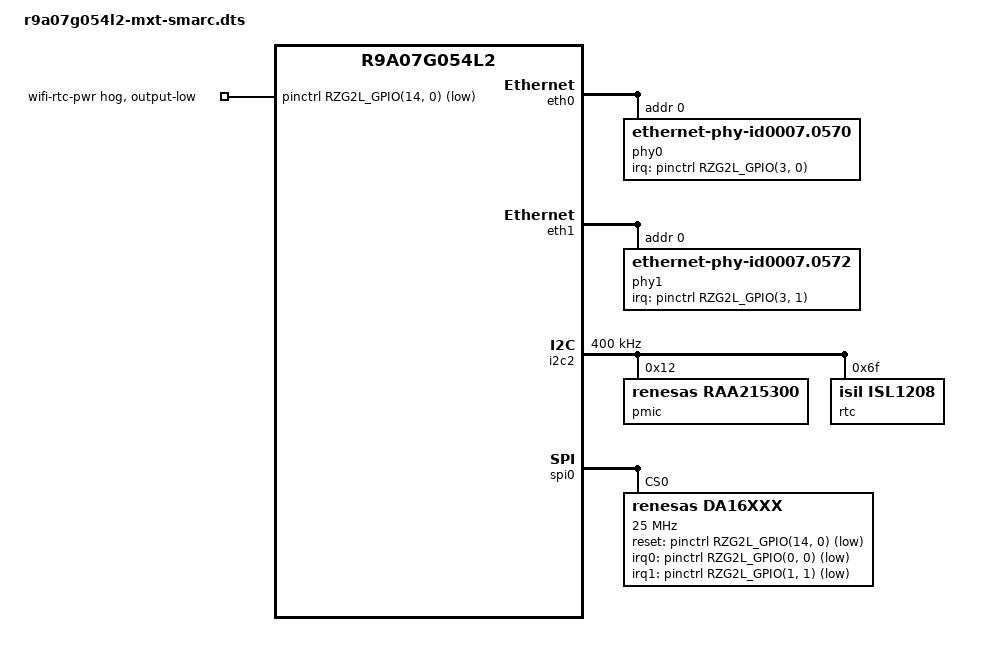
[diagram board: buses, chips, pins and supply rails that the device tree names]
// SPDX-License-Identifier: (GPL-2.0-only OR BSD-2-Clause)
/*
 * Device Tree Source for the RZ/V2L SMARC MXT board variant
 *
 * Copyright (C) 2024 MXT Creation SRL
 */

/dts-v1/;
#include "r9a07g054l2-smarc.dts"
#include <dt-bindings/net/mscc-phy-vsc8531.h>

/ {
	aliases {
		i2c2 = &i2c2;
	};
};

&pinctrl {
	/delete-node/ can1-stb-hog;

	i2c2_pins: i2c2 {
		pinmux = <RZG2L_PORT_PINMUX(42, 3, 1)>, /* SDA */
			 <RZG2L_PORT_PINMUX(42, 4, 1)>; /* SCL */
	};

	i2c3_pins: i2c3 {
		pinmux = <RZG2L_PORT_PINMUX(48, 2, 3)>, /* SDA */
			 <RZG2L_PORT_PINMUX(48, 3, 3)>; /* SCL */
	};

	sd1-pwr-en-hog {
		gpios = <RZG2L_GPIO(39, 0) GPIO_ACTIVE_HIGH>;
	};

	spi0_pins: spi0 {
		pinmux = <RZG2L_PORT_PINMUX(47, 0, 5)>, /* CK */
			 <RZG2L_PORT_PINMUX(47, 1, 5)>, /* MOSI */
			 <RZG2L_PORT_PINMUX(47, 2, 5)>, /* MISO */
			 <RZG2L_PORT_PINMUX(47, 3, 5)>; /* SSL */
	};

	wifi-rtc-pwr{
		gpio-hog;
		gpios = <RZG2L_GPIO(14, 0) GPIO_ACTIVE_LOW>;
		output-low;
		line-name = "wifi-rtc-pwr";
	};

	gpio-sd0-pwr-en-hog {
		/delete-node/ gpios;
	};

	sd0-dev-sel-hog {
		gpios = <RZG2L_GPIO(8, 1) GPIO_ACTIVE_HIGH>;
	};

};

&vccq_sdhi1 {
	gpios = <&pinctrl RZG2L_GPIO(8, 0) GPIO_ACTIVE_HIGH>;
};

&ov5645 {
	enable-gpios = <&pinctrl RZG2L_GPIO(10, 0) GPIO_ACTIVE_LOW>;
	reset-gpios = <&pinctrl RZG2L_GPIO(14, 1) GPIO_ACTIVE_LOW>;
};

&adv7535 {
	interrupts = <RZG2L_GPIO(1, 0) IRQ_TYPE_EDGE_FALLING>;
};

&eth0 {
	/delete-node/ ethernet-phy@7;

	phy0: ethernet-phy@0 {
		compatible = "ethernet-phy-id0007.0570";
		reg = <0>;
 
		interrupt-parent = <&pinctrl>;
		interrupts = <RZG2L_GPIO(3, 0) IRQ_TYPE_EDGE_FALLING>;

		vsc8531,vddmac		= <3300>;
		vsc8531,edge-slowdown	= <7>;
		vsc8531,led-0-mode	= <VSC8531_LINK_ACTIVITY>;
		vsc8531,led-1-mode	= <VSC8531_LINK_1000_ACTIVITY>;
	};
};

&eth1 {
	/delete-node/ ethernet-phy@7;

	phy1: ethernet-phy@0 {
		compatible = "ethernet-phy-id0007.0572";
		reg = <0>;

		interrupt-parent = <&pinctrl>;
		interrupts = <RZG2L_GPIO(3, 1) IRQ_TYPE_LEVEL_LOW>;

		vsc8531,vddmac		= <3300>;
		vsc8531,edge-slowdown	= <7>;
		vsc8531,led-0-mode	= <VSC8531_LINK_ACTIVITY>;
		vsc8531,led-1-mode	= <VSC8531_LINK_1000_ACTIVITY>;
	};
};

&i2c3 {
	/delete-node/ raa215300@12;
	/delete-node/ isl1208@6f;
};

&i2c2 {
	pinctrl-0 = <&i2c2_pins>;
	pinctrl-names = "default";
	clock-frequency = <400000>;

	status = "okay";

	pmic: raa215300@12 {
		compatible = "renesas,raa215300";
		reg = <0x12>;

		rtc-enable;
	};

	rtc: isl1208@6f {
		compatible = "isil,isl1208";
		reg = <0x6f>;

		external-oscillator;
	};
};

&spi0 {
	pinctrl-0 = <&spi0_pins>;
	pinctrl-names = "default";
	dmas = <&dmac 0x2e95>, <&dmac 0x2e96>;
	dma-names = "tx", "rx";

	status = "okay";

	da16xxx@0 {
		compatible = "renesas,da16xxx";
		reg = <0>;
		spi-max-frequency = <25000000>;
		reset-gpios = <&pinctrl RZG2L_GPIO(14, 0) GPIO_ACTIVE_LOW>;
		irq0-gpios = <&pinctrl RZG2L_GPIO(0, 0) GPIO_ACTIVE_LOW>;
		irq1-gpios = <&pinctrl RZG2L_GPIO(1, 1) GPIO_ACTIVE_LOW>;
	};
};
